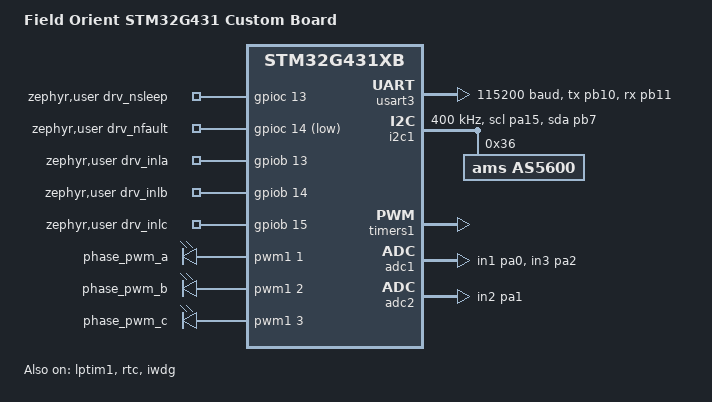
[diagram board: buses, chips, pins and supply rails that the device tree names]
/*
 * SPDX-License-Identifier: Apache-2.0
 */

/dts-v1/;
#include <st/g4/stm32g431Xb.dtsi>
#include <st/g4/stm32g431c(6-8-b)tx-pinctrl.dtsi>
#include <zephyr/dt-bindings/gpio/gpio.h>
#include <zephyr/dt-bindings/pwm/pwm.h>

/ {
	model = "Field Orient STM32G431 Custom Board";
	compatible = "others,field-orient-g431";

	chosen {
		zephyr,console = &usart3;
		zephyr,shell-uart = &usart3;
		zephyr,sram = &sram0;
		zephyr,flash = &flash0;
	};

	aliases {
		as5600 = &as5600;
		phase-pwm-a = &phase_pwm_a;
		phase-pwm-b = &phase_pwm_b;
		phase-pwm-c = &phase_pwm_c;
		current-sense-a = &current_sense_a;
		current-sense-b = &current_sense_b;
		current-sense-c = &current_sense_c;
		watchdog0 = &iwdg;
	};

	zephyr,user {
		drv_nsleep_gpios = <&gpioc 13 GPIO_ACTIVE_HIGH>;
		drv_nfault_gpios = <&gpioc 14 (GPIO_ACTIVE_LOW | GPIO_PULL_UP)>;
		drv_inla_gpios = <&gpiob 13 GPIO_ACTIVE_HIGH>;
		drv_inlb_gpios = <&gpiob 14 GPIO_ACTIVE_HIGH>;
		drv_inlc_gpios = <&gpiob 15 GPIO_ACTIVE_HIGH>;
	};

	phase_pwms {
		compatible = "pwm-leds";

		phase_pwm_a: phase-pwm-a {
			pwms = <&pwm1 1 PWM_USEC(50) PWM_POLARITY_NORMAL>;
		};

		phase_pwm_b: phase-pwm-b {
			pwms = <&pwm1 2 PWM_USEC(50) PWM_POLARITY_NORMAL>;
		};

		phase_pwm_c: phase-pwm-c {
			pwms = <&pwm1 3 PWM_USEC(50) PWM_POLARITY_NORMAL>;
		};
	};

	current_sense_a: current-sense-a {
		io-channels = <&adc1 1>;
	};

	current_sense_b: current-sense-b {
		io-channels = <&adc2 2>;
	};

	current_sense_c: current-sense-c {
		io-channels = <&adc1 3>;
	};
};

&clk_hsi {
	status = "okay";
};

&clk_lsi {
	status = "okay";
};

&clk_hse {
	status = "disabled";
};

&pll {
	div-m = <4>;
	mul-n = <85>;
	div-p = <7>;
	div-q = <2>;
	div-r = <2>;
	clocks = <&clk_hsi>;
	status = "okay";
};

&rcc {
	clocks = <&pll>;
	clock-frequency = <DT_FREQ_M(170)>;
	ahb-prescaler = <1>;
	apb1-prescaler = <1>;
	apb2-prescaler = <1>;
};

stm32_lp_tick_source: &lptim1 {
	clocks = <&rcc STM32_CLOCK_BUS_APB1 0x80000000>,
		 <&rcc STM32_SRC_LSI LPTIM1_SEL(1)>;
	status = "okay";
};

&rtc {
	clocks = <&rcc STM32_CLOCK_BUS_APB1 0x00000400>,
		 <&rcc STM32_SRC_LSI RTC_SEL(2)>;
	status = "okay";
};

&usart3 {
	pinctrl-0 = <&usart3_tx_pb10 &usart3_rx_pb11>;
	pinctrl-names = "default";
	current-speed = <115200>;
	status = "okay";
};

&i2c1 {
	pinctrl-0 = <&i2c1_scl_pa15 &i2c1_sda_pb7>;
	pinctrl-names = "default";
	clock-frequency = <I2C_BITRATE_FAST>;
	status = "okay";

	as5600: as5600@36 {
		compatible = "ams,as5600";
		reg = <0x36>;
		status = "okay";
	};
};

&timers1 {
	st,prescaler = <0>;
	status = "okay";

	pwm1: pwm {
		status = "okay";
		pinctrl-0 = <&tim1_ch1_pa8 &tim1_ch2_pa9 &tim1_ch3_pa10>;
		pinctrl-names = "default";
	};
};

&adc1 {
	pinctrl-0 = <&adc1_in1_pa0 &adc1_in3_pa2>;
	pinctrl-names = "default";
	st,adc-clock-source = "SYNC";
	st,adc-prescaler = <4>;
	status = "okay";
};

&adc2 {
	pinctrl-0 = <&adc2_in2_pa1>;
	pinctrl-names = "default";
	st,adc-clock-source = "SYNC";
	st,adc-prescaler = <4>;
	status = "okay";
};

&flash0 {
	partitions {
		compatible = "fixed-partitions";
		#address-cells = <1>;
		#size-cells = <1>;

		storage_partition: partition@1f000 {
			label = "storage";
			reg = <0x0001f000 0x1000>;
		};
	};
};

&iwdg {
	status = "okay";
};
